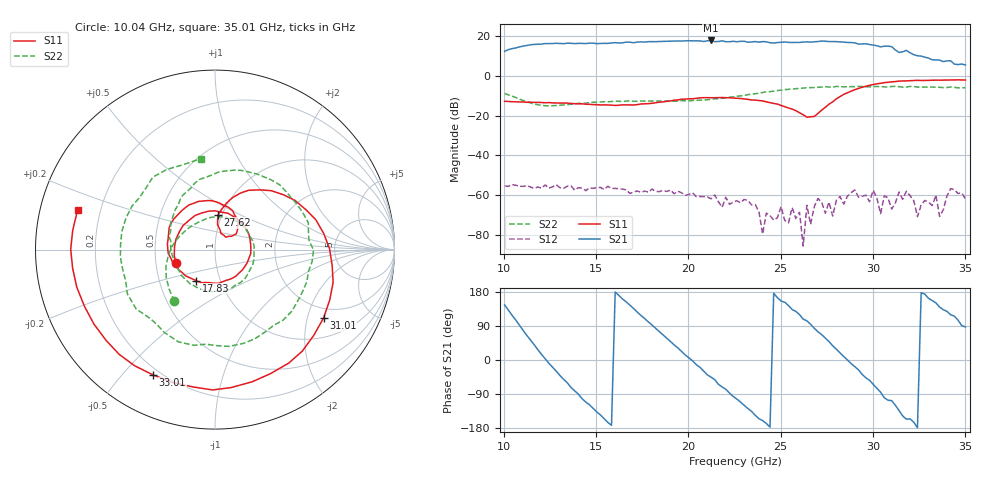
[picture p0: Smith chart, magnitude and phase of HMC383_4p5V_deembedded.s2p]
!Hittite Microwave Corporation
!20 Alpha Road
!Chelmsford, MA 01824
!Tel: 978-250-3343
!Fax: 978-250-3373
!Device: HMC383, 12-30 GHz, Driver Amplifier Die
!Misc: Vcc = 4.5V, data includes two K connectors, Room
# MHZ S MA R 50
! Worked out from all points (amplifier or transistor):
!   126 points, 10.04 GHz to 35.01 GHz, reference 50 ohm
!   highest |S21| = 18.0 dB at 21.22 GHz (marker M1)
!   |S21| within 3 dB of that: 10.97 GHz to 30.32 GHz (19.35 GHz wide, 93.7 % of centre) (the widest 1 of 2)
!   unconditionally stable (mu >= 1): start of sweep to end of sweep
!   at 14.23 GHz: K = 45.85, MAG = 16.9 dB, |S12| = -56.5 dB
!   at 22.62 GHz: K = 79.18, MAG = 18.1 dB, |S12| = -62.9 dB
!   at 35.01 GHz: K = 87.37, MAG = 11.3 dB, |S12| = -61.8 dB
!   S11 on the Smith chart (normalised r, x): 10.04 GHz: 0.63, -0.10; 17.83 GHz: 0.77, -0.28; 27.62 GHz: 0.96, +0.39; 31.01 GHz: 1.62, -2.53; 33.01 GHz: 0.17, -0.61; 35.01 GHz: 0.12, +0.14
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10037.5  0.232 -161.1  4.215 145.3  0.001702 -16.8  0.366 -128.1
11036.25  0.223 143.0  5.697 78.4  0.00165 -27.1  0.243 177.3
12234.75  0.212 79.3  6.606 3.2  0.001796 -43.1  0.179 123.6
13433.25  0.208 25.7  6.766 -60.1  0.001662 -65.2  0.19 68.7
14232.25  0.2 -6.6  6.676 -102.0  0.001503 -77.1  0.206 31.4
16030  0.182 -69.8  6.988 179.6  0.001472 -89.4  0.233 -45.0
16829  0.187 -92.9  7.151 144.5  0.001094 -113.3  0.238 -74.6
17827.75  0.202 -121.2  7.38 100.5  0.001182 -114.2  0.235 -107.8
18427  0.22 -138.6  7.448 74.6  0.001221 -116.2  0.236 -126.0
20025  0.267 173.2  7.836 5.8  0.001035 -140.0  0.237 -168.9
21223.5  0.284 137.3  7.925 -45.3  0.0007989 -142.6  0.261 166.2
22621.75  0.276 97.7  7.351 -103.1  0.0007173 -148.1  0.311 136.5
24219.75  0.224 61.4  7.33 -167.4  0.0003488 154.3  0.401 102.4
25218.5  0.169 41.8  7.265 152.4  0.0002281 65.1  0.455 76.4
26816.5  0.096 69.8  7.342 83.7  0.0005056 -64.4  0.513 34.5
27615.5  0.195 84.9  7.428 48.5  0.0006627 -104.4  0.53 10.9
29013.75  0.454 46.3  6.913 -17.4  0.001348 -104.5  0.542 -30.8
30012.5  0.612 8.5  6.071 -64.4  0.001319 -130.3  0.544 -65.8
31011.25  0.715 -32.2  5.515 -107.2  0.0004435 -106.6  0.546 -102.4
31810.25  0.757 -65.8  4.453 -156.3  0.001252 -177.5  0.528 -133.9
33008.75  0.779 -116.4  2.847 162.7  0.0006655 75.6  0.527 176.9
35006.25  0.797 163.9  1.904 87.1  0.0008088 72.4  0.513 99.0
